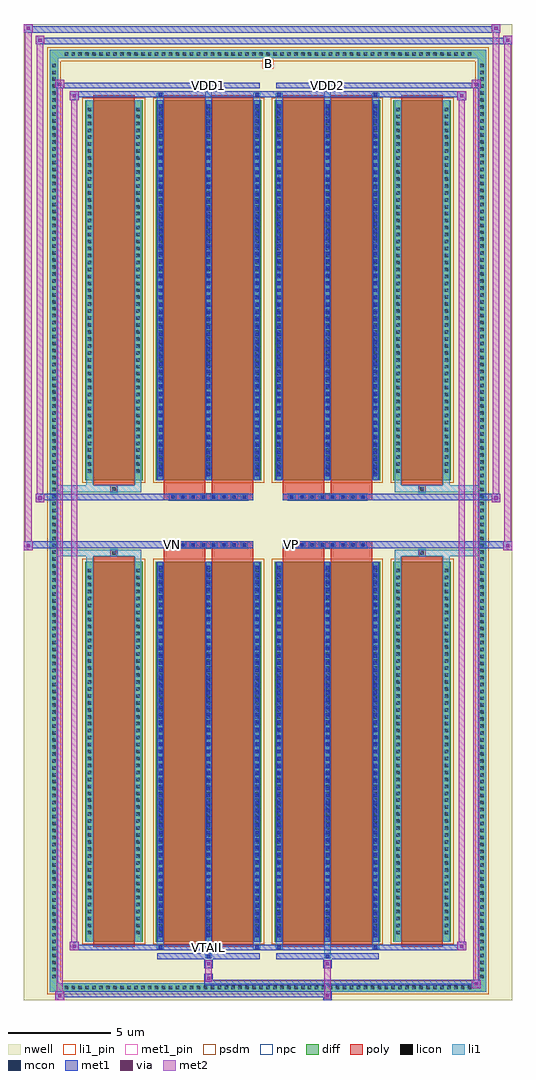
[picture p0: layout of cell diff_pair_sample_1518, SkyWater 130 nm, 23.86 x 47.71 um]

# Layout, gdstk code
import gdstk
lib = gdstk.Library(unit=1e-6, precision=5e-09)
def R(c, l, rs):  # rectangles x0, y0, x1, y1
    for r in rs: c.add(gdstk.rectangle(r[:2], r[2:], *l))
def A(c, l, x, y, w, h, nx, ny, dx, dy):  # array of equal rectangles
    R(c, l, [(x+i*dx, y+j*dy, x+i*dx+w, y+j*dy+h) for i in range(nx) for j in range(ny)])
def P(c, l, *ps):  # polygons
    for p in ps: c.add(gdstk.Polygon(p, *l))
nwell = (64, 20)
diff = (65, 20)
poly = (66, 20)
licon = (66, 44)
li1_pin = (67, 16)
li1 = (67, 20)
mcon = (67, 44)
met1_pin = (68, 16)
met1 = (68, 20)
via = (68, 44)
met2 = (69, 20)
psdm = (94, 20)
npc = (95, 20)

diff_pair_sample_1518 = lib.new_cell('diff_pair_sample_1518')
R(diff_pair_sample_1518, nwell, [(-11.93,-23.42,11.93,24.29), (-9.25,-21.61,-0.01,-0.805), (0.01,-21.61,9.25,-0.805), (-9.25,0.805,-0.01,21.61), (0.01,0.805,9.25,21.61)])
A(diff_pair_sample_1518, diff, -10.065, -23.02, 0.41, 0.41, 59, 2, 0.34, 45.63)
A(diff_pair_sample_1518, diff, -10.66, -22.475, 0.41, 0.41, 1, 132, 0, 0.34)
A(diff_pair_sample_1518, diff, 10.25, -22.475, 0.41, 0.41, 1, 132, 0, 0.34)
R(diff_pair_sample_1518, diff, [(-10.065,-23.02,10.065,-22.61), (-10.66,-22.475,-10.25,22.475), (10.25,-22.475,10.66,22.475), (-8.94,-20.565,-6.13,-1.985), (-5.49,-20.565,-0.32,-1.985), (0.32,-20.565,5.49,-1.985), (6.13,-20.565,8.94,-1.985), (-8.94,1.985,-6.13,20.565), (-5.49,1.985,-0.32,20.565), (0.32,1.985,5.49,20.565), (6.13,1.985,8.94,20.565), (-10.065,22.61,10.065,23.02)])
P(diff_pair_sample_1518, diff, [(10.66,23.02),(-10.66,23.02),(-10.66,-22.61),(-10.25,-22.61),(-10.25,22.61),(10.25,22.61),(10.25,-22.61),(-10.25,-22.61),(-10.66,-22.61),(-10.66,-23.02),(10.66,-23.02)])
A(diff_pair_sample_1518, poly, -4.82, -1.335, 0.33, 0.33, 8, 2, 0.5, 2.34)
A(diff_pair_sample_1518, poly, 0.99, -1.335, 0.33, 0.33, 8, 2, 0.5, 2.34)
R(diff_pair_sample_1518, poly, [(-8.55,-20.815,-6.52,-1.735), (-5.1,-20.815,-3.07,-1.735), (-2.74,-20.815,-0.71,-1.735), (0.71,-20.815,2.74,-1.735), (3.07,-20.815,5.1,-1.735), (6.52,-20.815,8.55,-1.735), (-7.7,-1.735,-7.37,-1.405), (-7.7,-1.735,-7.37,-1.405), (-5.1,-1.735,-3.07,-1.335), (-2.74,-1.735,-0.71,-1.335), (0.71,-1.735,2.74,-1.335), (3.07,-1.735,5.1,-1.335), (7.37,-1.735,7.7,-1.405), (7.37,-1.735,7.7,-1.405), (-5.1,-1.335,-0.71,-1.005), (0.71,-1.335,5.1,-1.005), (-5.1,1.005,-0.71,1.335), (0.71,1.005,5.1,1.335), (-5.1,1.335,-3.07,1.735), (-2.74,1.335,-0.71,1.735), (0.71,1.335,2.74,1.735), (3.07,1.335,5.1,1.735), (-7.7,1.405,-7.37,1.735), (-7.7,1.405,-7.37,1.735), (7.37,1.405,7.7,1.735), (7.37,1.405,7.7,1.735), (-8.55,1.735,-6.52,20.815), (-5.1,1.735,-3.07,20.815), (-2.74,1.735,-0.71,20.815), (0.71,1.735,2.74,20.815), (3.07,1.735,5.1,20.815), (6.52,1.735,8.55,20.815)])
A(diff_pair_sample_1518, licon, -9.945, -22.9, 0.17, 0.17, 59, 2, 0.34, 45.63)
A(diff_pair_sample_1518, licon, -10.54, -22.355, 0.17, 0.17, 1, 132, 0, 0.34)
A(diff_pair_sample_1518, licon, 10.37, -22.355, 0.17, 0.17, 1, 132, 0, 0.34)
A(diff_pair_sample_1518, licon, -8.8, -20.2, 0.17, 0.17, 1, 53, 0, 0.34)
A(diff_pair_sample_1518, licon, -6.44, -20.2, 0.17, 0.17, 1, 53, 0, 0.34)
A(diff_pair_sample_1518, licon, -5.35, -20.2, 0.17, 0.17, 3, 53, 2.36, 0.34)
A(diff_pair_sample_1518, licon, 0.46, -20.2, 0.17, 0.17, 3, 53, 2.36, 0.34)
A(diff_pair_sample_1518, licon, 6.27, -20.2, 0.17, 0.17, 1, 53, 0, 0.34)
A(diff_pair_sample_1518, licon, 8.63, -20.2, 0.17, 0.17, 1, 53, 0, 0.34)
A(diff_pair_sample_1518, licon, -4.74, -1.255, 0.17, 0.17, 8, 2, 0.5, 2.34)
A(diff_pair_sample_1518, licon, 1.07, -1.255, 0.17, 0.17, 8, 2, 0.5, 2.34)
A(diff_pair_sample_1518, licon, -8.8, 2.35, 0.17, 0.17, 1, 53, 0, 0.34)
A(diff_pair_sample_1518, licon, -6.44, 2.35, 0.17, 0.17, 1, 53, 0, 0.34)
A(diff_pair_sample_1518, licon, -5.35, 2.35, 0.17, 0.17, 3, 53, 2.36, 0.34)
A(diff_pair_sample_1518, licon, 0.46, 2.35, 0.17, 0.17, 3, 53, 2.36, 0.34)
A(diff_pair_sample_1518, licon, 6.27, 2.35, 0.17, 0.17, 1, 53, 0, 0.34)
A(diff_pair_sample_1518, licon, 8.63, 2.35, 0.17, 0.17, 1, 53, 0, 0.34)
R(diff_pair_sample_1518, licon, [(-7.62,-1.655,-7.45,-1.485), (7.45,-1.655,7.62,-1.485), (-7.62,1.485,-7.45,1.655), (7.45,1.485,7.62,1.655)])
R(diff_pair_sample_1518, li1_pin, [(-0.25,22.11,0.25,22.61)])
A(diff_pair_sample_1518, li1, -10.025, -22.98, 0.33, 0.33, 59, 2, 0.34, 45.63)
A(diff_pair_sample_1518, li1, -10.62, -22.435, 0.33, 0.33, 1, 132, 0, 0.34)
A(diff_pair_sample_1518, li1, 10.29, -22.435, 0.33, 0.33, 1, 132, 0, 0.34)
A(diff_pair_sample_1518, li1, -5.43, -20.565, 0.33, 18.58, 3, 2, 2.36, 22.55)
A(diff_pair_sample_1518, li1, 0.38, -20.565, 0.33, 18.58, 3, 2, 2.36, 22.55)
A(diff_pair_sample_1518, li1, -5.35, -20.36, 0.17, 0.17, 3, 51, 2.36, 0.36)
A(diff_pair_sample_1518, li1, -5.35, -20.36, 0.17, 18.17, 3, 2, 2.36, 22.55)
A(diff_pair_sample_1518, li1, 0.46, -20.36, 0.17, 0.17, 3, 51, 2.36, 0.36)
A(diff_pair_sample_1518, li1, 0.46, -20.36, 0.17, 18.17, 3, 2, 2.36, 22.55)
A(diff_pair_sample_1518, li1, -8.88, -20.28, 0.33, 0.33, 1, 53, 0, 0.34)
A(diff_pair_sample_1518, li1, -6.52, -20.28, 0.33, 0.33, 1, 53, 0, 0.34)
A(diff_pair_sample_1518, li1, -5.43, -20.28, 0.33, 0.33, 3, 53, 2.36, 0.34)
A(diff_pair_sample_1518, li1, 0.38, -20.28, 0.33, 0.33, 3, 53, 2.36, 0.34)
A(diff_pair_sample_1518, li1, 6.19, -20.28, 0.33, 0.33, 1, 53, 0, 0.34)
A(diff_pair_sample_1518, li1, 8.55, -20.28, 0.33, 0.33, 1, 53, 0, 0.34)
A(diff_pair_sample_1518, li1, -4.82, -1.335, 0.33, 0.33, 8, 2, 0.5, 2.34)
A(diff_pair_sample_1518, li1, 0.99, -1.335, 0.33, 0.33, 8, 2, 0.5, 2.34)
A(diff_pair_sample_1518, li1, -5.35, 2.19, 0.17, 0.17, 3, 51, 2.36, 0.36)
A(diff_pair_sample_1518, li1, 0.46, 2.19, 0.17, 0.17, 3, 51, 2.36, 0.36)
A(diff_pair_sample_1518, li1, -8.88, 2.27, 0.33, 0.33, 1, 53, 0, 0.34)
A(diff_pair_sample_1518, li1, -6.52, 2.27, 0.33, 0.33, 1, 53, 0, 0.34)
A(diff_pair_sample_1518, li1, -5.43, 2.27, 0.33, 0.33, 3, 53, 2.36, 0.34)
A(diff_pair_sample_1518, li1, 0.38, 2.27, 0.33, 0.33, 3, 53, 2.36, 0.34)
A(diff_pair_sample_1518, li1, 6.19, 2.27, 0.33, 0.33, 1, 53, 0, 0.34)
A(diff_pair_sample_1518, li1, 8.55, 2.27, 0.33, 0.33, 1, 53, 0, 0.34)
R(diff_pair_sample_1518, li1, [(-10.66,-23.02,-10.25,-22.61), (-10.66,-23.02,-10.25,-22.61), (-10.25,-23.02,10.25,-22.61), (10.25,-23.02,10.66,-22.61), (10.25,-23.02,10.66,-22.61), (-10.66,-22.61,-10.25,22.61), (10.25,-22.61,10.66,22.61), (-3.07,-21.37,-2.74,-20.565), (-2.99,-21.37,-2.82,-21.2), (2.74,-21.37,3.07,-20.565), (2.82,-21.37,2.99,-21.2), (-5.43,-20.94,-5.1,-20.565), (-5.35,-20.94,-5.18,-20.77), (-0.71,-20.94,-0.38,-20.565), (-0.63,-20.94,-0.46,-20.77), (0.38,-20.94,0.71,-20.565), (0.46,-20.94,0.63,-20.77), (5.1,-20.94,5.43,-20.565), (5.18,-20.94,5.35,-20.77), (-8.88,-20.565,-8.55,-1.985), (-6.52,-20.565,-6.19,-1.985), (6.19,-20.565,6.52,-1.985), (8.55,-20.565,8.88,-1.985), (-8.88,-1.985,-8.55,-1.405), (-6.52,-1.985,-6.19,-1.405), (6.19,-1.985,6.52,-1.405), (8.55,-1.985,8.88,-1.405), (-10.66,-1.735,-7.7,-1.405), (-8.88,-1.735,-7.7,-1.405), (-7.7,-1.735,-7.37,-1.405), (-7.37,-1.735,-6.19,-1.405), (6.19,-1.735,7.37,-1.405), (7.37,-1.735,7.7,-1.405), (7.37,-1.735,10.66,-1.405), (7.7,-1.735,8.88,-1.405), (-10.66,1.405,-7.7,1.735), (-8.88,1.405,-7.7,1.735), (-8.88,1.405,-8.55,1.985), (-7.7,1.405,-7.37,1.735), (-7.37,1.405,-6.19,1.735), (-6.52,1.405,-6.19,1.985), (6.19,1.405,7.37,1.735), (6.19,1.405,6.52,1.985), (7.37,1.405,7.7,1.735), (7.37,1.405,10.66,1.735), (7.7,1.405,8.88,1.735), (8.55,1.405,8.88,1.985), (-8.88,1.985,-8.55,20.565), (-6.52,1.985,-6.19,20.565), (6.19,1.985,6.52,20.565), (8.55,1.985,8.88,20.565), (-5.43,20.565,-5.1,20.94), (-3.07,20.565,-2.74,21.37), (-0.71,20.565,-0.38,20.94), (0.38,20.565,0.71,20.94), (2.74,20.565,3.07,21.37), (5.1,20.565,5.43,20.94), (-5.35,20.77,-5.18,20.94), (-0.63,20.77,-0.46,20.94), (0.46,20.77,0.63,20.94), (5.18,20.77,5.35,20.94), (-2.99,21.2,-2.82,21.37), (2.82,21.2,2.99,21.37), (-10.66,22.61,-10.25,23.02), (-10.66,22.61,-10.25,23.02), (-10.25,22.61,10.25,23.02), (10.25,22.61,10.66,23.02), (10.25,22.61,10.66,23.02)])
A(diff_pair_sample_1518, mcon, -5.35, -20.36, 0.17, 0.17, 3, 51, 2.36, 0.36)
A(diff_pair_sample_1518, mcon, 0.46, -20.36, 0.17, 0.17, 3, 51, 2.36, 0.36)
A(diff_pair_sample_1518, mcon, -4.74, -1.255, 0.17, 0.17, 8, 2, 0.5, 2.34)
A(diff_pair_sample_1518, mcon, 1.07, -1.255, 0.17, 0.17, 8, 2, 0.5, 2.34)
A(diff_pair_sample_1518, mcon, -5.35, 2.19, 0.17, 0.17, 3, 51, 2.36, 0.36)
A(diff_pair_sample_1518, mcon, 0.46, 2.19, 0.17, 0.17, 3, 51, 2.36, 0.36)
R(diff_pair_sample_1518, mcon, [(-2.99,-21.37,-2.82,-21.2), (2.82,-21.37,2.99,-21.2), (-5.35,-20.94,-5.18,-20.77), (-0.63,-20.94,-0.46,-20.77), (0.46,-20.94,0.63,-20.77), (5.18,-20.94,5.35,-20.77), (-5.35,20.77,-5.18,20.94), (-0.63,20.77,-0.46,20.94), (0.46,20.77,0.63,20.94), (5.18,20.77,5.35,20.94), (-2.99,21.2,-2.82,21.37), (2.82,21.2,2.99,21.37)])
R(diff_pair_sample_1518, met1_pin, [(-3.04,-20.98,-2.77,-20.71), (-4.79,-1.295,-4.52,-1.025), (1.02,-1.295,1.29,-1.025), (-3.04,21.16,-2.77,21.43), (2.77,21.16,3.04,21.43)])
A(diff_pair_sample_1518, met1, -5.41, -20.565, 0.29, 18.58, 3, 2, 2.36, 22.55)
A(diff_pair_sample_1518, met1, 0.4, -20.565, 0.29, 18.58, 3, 2, 2.36, 22.55)
A(diff_pair_sample_1518, met1, -5.41, -20.42, 0.29, 0.29, 3, 51, 2.36, 0.36)
A(diff_pair_sample_1518, met1, 0.4, -20.42, 0.29, 0.29, 3, 51, 2.36, 0.36)
A(diff_pair_sample_1518, met1, -4.8, -1.315, 0.29, 0.29, 8, 2, 0.5, 2.34)
A(diff_pair_sample_1518, met1, 1.01, -1.315, 0.29, 0.29, 8, 2, 0.5, 2.34)
A(diff_pair_sample_1518, met1, -5.41, 2.13, 0.29, 0.29, 3, 51, 2.36, 0.36)
A(diff_pair_sample_1518, met1, 0.4, 2.13, 0.29, 0.29, 3, 51, 2.36, 0.36)
R(diff_pair_sample_1518, met1, [(-10.39,-23.42,-9.96,-22.99), (2.69,-23.42,3.12,-22.99), (-10.39,-23.28,3.12,-22.99), (9.96,-22.85,10.39,-22.42), (-3.12,-22.71,10.39,-22.42), (-3.12,-22.57,-2.69,-22.14), (-3.12,-21.86,-2.69,-21.43), (2.69,-21.86,3.12,-21.43), (-5.41,-21.43,-0.4,-21.14), (-3.05,-21.43,-2.76,-21.14), (0.4,-21.43,5.41,-21.14), (2.76,-21.43,3.05,-21.14), (-9.68,-21,-9.25,-20.57), (-9.68,-21,-5.41,-20.71), (-5.41,-21,-5.12,-20.71), (-5.41,-21,-0.4,-20.71), (-0.69,-21,-0.4,-20.71), (-0.4,-21,0.4,-20.71), (0.4,-21,0.69,-20.71), (0.4,-21,5.41,-20.71), (5.12,-21,5.41,-20.71), (5.41,-21,9.68,-20.71), (9.25,-21,9.68,-20.57), (-11.93,-1.435,-11.5,-1.005), (11.5,-1.435,11.93,-1.005), (-11.93,-1.335,-0.71,-1.005), (-5.1,-1.335,-0.71,-1.005), (0.71,-1.335,5.1,-1.005), (0.71,-1.335,11.93,-1.005), (-11.36,0.905,-10.93,1.335), (10.93,0.905,11.36,1.335), (-11.36,1.005,-5.1,1.335), (-5.1,1.005,-0.71,1.335), (0.71,1.005,5.1,1.335), (5.1,1.005,11.36,1.335), (-9.68,20.57,-9.25,21), (9.25,20.57,9.68,21), (-9.68,20.71,-5.41,21), (-5.41,20.71,-5.12,21), (-5.41,20.71,-0.4,21), (-0.69,20.71,-0.4,21), (-0.4,20.71,0.4,21), (0.4,20.71,0.69,21), (0.4,20.71,5.41,21), (5.12,20.71,5.41,21), (5.41,20.71,9.68,21), (-10.39,21.14,-9.96,21.57), (-10.39,21.14,-5.41,21.43), (-5.41,21.14,-0.4,21.43), (-3.05,21.14,-2.76,21.43), (0.4,21.14,5.41,21.43), (2.76,21.14,3.05,21.43), (5.41,21.14,10.39,21.43), (9.96,21.14,10.39,21.57), (-11.36,23.29,-10.93,23.72), (-11.36,23.29,-9.25,23.62), (-9.25,23.29,9.25,23.62), (9.25,23.29,11.93,23.62), (11.5,23.29,11.93,23.72), (-11.93,23.86,-11.5,24.29), (-11.93,23.86,-9.25,24.19), (-9.25,23.86,9.25,24.19), (9.25,23.86,11.36,24.19), (10.93,23.86,11.36,24.29)])
R(diff_pair_sample_1518, via, [(-10.25,-23.28,-10.1,-23.13), (2.83,-23.28,2.98,-23.13), (10.1,-22.71,10.25,-22.56), (-2.98,-22.43,-2.83,-22.28), (-2.98,-21.72,-2.83,-21.57), (2.83,-21.72,2.98,-21.57), (-9.54,-20.86,-9.39,-20.71), (9.39,-20.86,9.54,-20.71), (-11.79,-1.295,-11.64,-1.145), (11.64,-1.295,11.79,-1.145), (-11.22,1.045,-11.07,1.195), (11.07,1.045,11.22,1.195), (-9.54,20.71,-9.39,20.86), (9.39,20.71,9.54,20.86), (-10.25,21.28,-10.1,21.43), (10.1,21.28,10.25,21.43), (-11.22,23.43,-11.07,23.58), (11.64,23.43,11.79,23.58), (-11.79,24,-11.64,24.15), (11.07,24,11.22,24.15)])
R(diff_pair_sample_1518, met2, [(-10.39,-23.42,-9.96,-22.99), (-10.32,-23.42,-10.03,21.57), (-10.03,-23.42,-9.96,-22.99), (-10.34,-23.37,-10.01,-23.04), (2.74,-23.37,3.07,-23.04), (2.74,-23.04,3.07,-21.81), (9.96,-22.85,10.39,-22.42), (10.03,-22.85,10.32,21.57), (10.32,-22.85,10.39,-22.42), (10.01,-22.8,10.34,-22.47), (-3.07,-22.52,-2.74,-22.19), (-3.07,-22.19,-2.74,-21.81), (-3.07,-21.81,-2.74,-21.48), (2.74,-21.81,3.07,-21.48), (-9.68,-21,-9.25,-20.57), (-9.61,-21,-9.32,21), (-9.32,-21,-9.25,-20.57), (9.25,-21,9.68,-20.57), (9.32,-21,9.61,21), (9.61,-21,9.68,-20.57), (-9.63,-20.95,-9.3,-20.62), (9.3,-20.95,9.63,-20.62), (-11.93,-1.435,-11.5,-1.005), (-11.88,-1.435,-11.55,24.29), (-11.55,-1.435,-11.5,-1.005), (11.5,-1.435,11.93,-1.005), (11.55,-1.435,11.88,23.72), (11.88,-1.435,11.93,-1.005), (-11.88,-1.385,-11.55,-1.055), (11.55,-1.385,11.88,-1.055), (-11.36,0.905,-10.93,1.335), (-11.31,0.905,-10.98,23.72), (-10.98,0.905,-10.93,1.335), (10.93,0.905,11.36,1.335), (10.98,0.905,11.31,24.29), (11.31,0.905,11.36,1.335), (-11.31,0.955,-10.98,1.285), (10.98,0.955,11.31,1.285), (-9.68,20.57,-9.25,21), (-9.32,20.57,-9.25,21), (9.25,20.57,9.68,21), (9.61,20.57,9.68,21), (-9.63,20.62,-9.3,20.95), (9.3,20.62,9.63,20.95), (-10.39,21.14,-9.96,21.57), (-10.03,21.14,-9.96,21.57), (9.96,21.14,10.39,21.57), (10.32,21.14,10.39,21.57), (-10.34,21.19,-10.01,21.52), (10.01,21.19,10.34,21.52), (-11.36,23.29,-10.93,23.72), (-10.98,23.29,-10.93,23.72), (11.5,23.29,11.93,23.72), (11.88,23.29,11.93,23.72), (-11.31,23.34,-10.98,23.67), (11.55,23.34,11.88,23.67), (-11.93,23.86,-11.5,24.29), (-11.55,23.86,-11.5,24.29), (10.93,23.86,11.36,24.29), (11.31,23.86,11.36,24.29), (-11.88,23.91,-11.55,24.24), (10.98,23.91,11.31,24.24)])
R(diff_pair_sample_1518, psdm, [(-9.07,-20.695,-6,-1.855), (-5.62,-20.695,-0.19,-1.855), (0.19,-20.695,5.62,-1.855), (6,-20.695,9.07,-1.855), (-9.07,1.855,-6,20.695), (-5.62,1.855,-0.19,20.695), (0.19,1.855,5.62,20.695), (6,1.855,9.07,20.695)])
P(diff_pair_sample_1518, psdm, [(10.79,23.15),(-10.79,23.15),(-10.79,-22.48),(-10.12,-22.48),(-10.12,22.48),(10.12,22.48),(10.12,-22.48),(-10.12,-22.48),(-10.79,-22.48),(-10.79,-23.15),(10.79,-23.15)])
A(diff_pair_sample_1518, npc, -4.84, -1.355, 0.37, 0.37, 8, 2, 0.5, 2.34)
A(diff_pair_sample_1518, npc, 0.97, -1.355, 0.37, 0.37, 8, 2, 0.5, 2.34)
R(diff_pair_sample_1518, npc, [(-7.72,-1.755,-7.35,-1.385), (7.35,-1.755,7.72,-1.385), (-4.84,-1.355,-3.97,-0.985), (-4.84,-1.355,-3.97,-0.985), (-4.34,-1.355,-3.47,-0.985), (-4.34,-1.355,-3.47,-0.985), (-3.84,-1.355,-2.97,-0.985), (-3.84,-1.355,-2.97,-0.985), (-3.34,-1.355,-2.47,-0.985), (-3.34,-1.355,-2.47,-0.985), (-2.84,-1.355,-1.97,-0.985), (-2.84,-1.355,-1.97,-0.985), (-2.34,-1.355,-1.47,-0.985), (-2.34,-1.355,-1.47,-0.985), (-1.84,-1.355,-0.97,-0.985), (-1.84,-1.355,-0.97,-0.985), (0.97,-1.355,1.84,-0.985), (0.97,-1.355,1.84,-0.985), (1.47,-1.355,2.34,-0.985), (1.47,-1.355,2.34,-0.985), (1.97,-1.355,2.84,-0.985), (1.97,-1.355,2.84,-0.985), (2.47,-1.355,3.34,-0.985), (2.47,-1.355,3.34,-0.985), (2.97,-1.355,3.84,-0.985), (2.97,-1.355,3.84,-0.985), (3.47,-1.355,4.34,-0.985), (3.47,-1.355,4.34,-0.985), (3.97,-1.355,4.84,-0.985), (3.97,-1.355,4.84,-0.985), (-4.84,0.985,-3.97,1.355), (-4.84,0.985,-3.97,1.355), (-4.34,0.985,-3.47,1.355), (-4.34,0.985,-3.47,1.355), (-3.84,0.985,-2.97,1.355), (-3.84,0.985,-2.97,1.355), (-3.34,0.985,-2.47,1.355), (-3.34,0.985,-2.47,1.355), (-2.84,0.985,-1.97,1.355), (-2.84,0.985,-1.97,1.355), (-2.34,0.985,-1.47,1.355), (-2.34,0.985,-1.47,1.355), (-1.84,0.985,-0.97,1.355), (-1.84,0.985,-0.97,1.355), (0.97,0.985,1.84,1.355), (0.97,0.985,1.84,1.355), (1.47,0.985,2.34,1.355), (1.47,0.985,2.34,1.355), (1.97,0.985,2.84,1.355), (1.97,0.985,2.84,1.355), (2.47,0.985,3.34,1.355), (2.47,0.985,3.34,1.355), (2.97,0.985,3.84,1.355), (2.97,0.985,3.84,1.355), (3.47,0.985,4.34,1.355), (3.47,0.985,4.34,1.355), (3.97,0.985,4.84,1.355), (3.97,0.985,4.84,1.355), (-7.72,1.385,-7.35,1.755), (7.35,1.385,7.72,1.755)])
diff_pair_sample_1518.add(gdstk.Label('VTAIL', (-2.905,-20.845), layer=68, texttype=5))
diff_pair_sample_1518.add(gdstk.Label('VN', (-4.655,-1.16), layer=68, texttype=5))
diff_pair_sample_1518.add(gdstk.Label('VP', (1.155,-1.16), layer=68, texttype=5))
diff_pair_sample_1518.add(gdstk.Label('B', (0,22.36), layer=67, texttype=5))
diff_pair_sample_1518.add(gdstk.Label('VDD2', (2.905,21.295), layer=68, texttype=5))
diff_pair_sample_1518.add(gdstk.Label('VDD1', (-2.905,21.295), layer=68, texttype=5))

lib.write_gds('diff_pair_sample_1518.gds')
